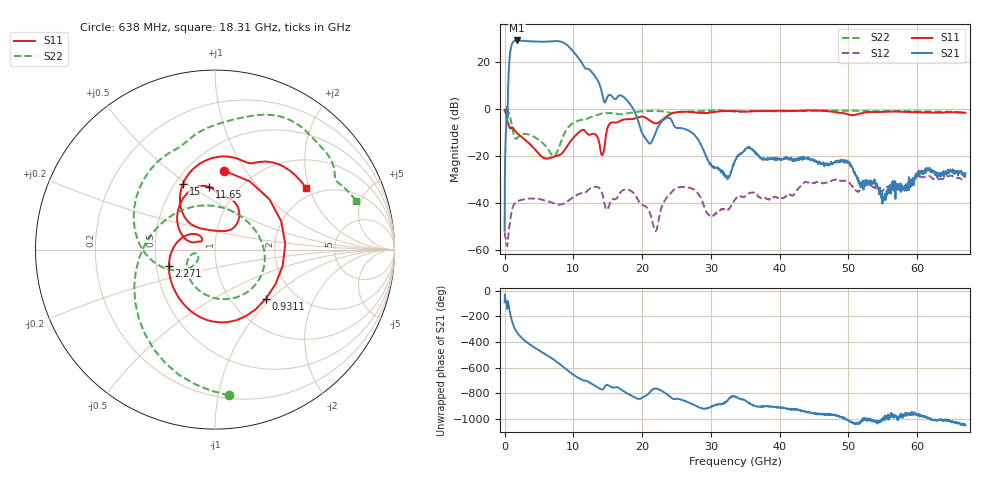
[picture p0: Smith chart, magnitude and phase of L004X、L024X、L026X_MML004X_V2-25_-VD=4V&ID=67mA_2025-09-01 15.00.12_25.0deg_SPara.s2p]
!Keysight Technologies,N5247B,MY63057157,A.17.10.07
!Date: Monday, September 01, 2025 15:07:10
!Correction: S11(C  2-Port  )
!S21(C  2-Port  )
!S12(C  2-Port  )
!S22(C  2-Port  )
!S2P File: Measurements: S11, S21, S12, S22:
# Hz S  dB  R 50
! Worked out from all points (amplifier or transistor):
!   1601 points, 10 MHz to 67 GHz, reference 50 ohm
!   highest |S21| = 29.2 dB at 1.81 GHz (marker M1)
!   |S21| within 3 dB of that: 942.7 MHz to 9.471 GHz (8.528 GHz wide, 164 % of centre)
!   unconditionally stable (mu >= 1): start of sweep to end of sweep
!   at 11.15 GHz: K = 1.94, MAG = 22.4 dB, |S12| = -35.7 dB
!   at 33.51 GHz: K = 20.68, MAG = -8.0 dB, |S12| = -38.5 dB
!   at 67 GHz: K = 28.23, MAG = -15.8 dB, |S12| = -30.6 dB
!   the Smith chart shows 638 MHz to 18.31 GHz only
!   S11 on the Smith chart (normalised r, x): 638 MHz: 0.73, +0.80; 931.1 MHz: 1.44, -0.93; 2.271 GHz: 0.58, -0.11; 11.65 GHz: 0.74, +0.59; 15 GHz: 0.55, +0.48; 18.31 GHz: 1.74, +1.91
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1e7  -0.49 -26.5  -51.74 -89.6  -52.49 44.7  -0.11 -12.0
6.380312e8  -7.08 83.6  17.82 -123.7  -51.00 -121.7  -1.76 -84.5
9.311125e8  -8.09 -43.8  26.07 153.7  -45.19 165.1  -4.87 -138.2
1.3498e9  -8.57 -109.0  28.91 80.7  -40.69 111.4  -10.94 128.4
1.810356e9  -10.15 -139.3  29.23 34.6  -39.26 78.0  -12.42 39.5
2.270912e9  -11.31 -160.9  29.16 3.9  -38.77 57.9  -11.08 -7.0
3.275762e9  -13.76 164.8  28.96 -43.6  -38.12 31.4  -10.62 -60.4
4.406219e9  -17.10 141.5  28.77 -85.6  -38.08 11.8  -11.99 -105.7
5.662281e9  -20.74 141.2  28.70 -127.3  -38.72 -4.8  -14.77 -149.9
7.04395e9  -20.39 152.0  28.91 -174.2  -39.93 -13.7  -19.89 -164.3
7.881325e9  -19.62 154.8  28.91 152.9  -40.64 -11.4  -16.42 -143.7
8.844306e9  -16.96 162.5  27.83 110.6  -39.84 -4.1  -9.55 -165.8
9.932894e9  -12.42 148.6  24.73 66.2  -37.57 -7.2  -6.01 154.4
1.118896e10  -9.04 114.6  19.95 26.0  -35.76 -22.8  -4.56 118.8
1.164951e10  -9.11 95.1  17.68 17.1  -35.60 -26.1  -4.39 109.6
1.499901e10  -7.79 115.9  5.42 -17.0  -42.64 -66.9  -1.62 51.2
1.830664e10  -4.26 34.0  1.95 -95.9  -34.68 -108.0  -1.58 18.9
2.236791e10  -5.75 0.7  -7.33 -49.2  -47.84 15.0  -0.83 -18.4
3.3505e10  -0.82 -80.0  -22.16 -107.6  -38.51 -118.2  -1.11 -74.3
4.468396e10  -0.56 -124.6  -21.43 123.1  -31.55 171.7  -0.68 -109.0
5.586291e10  -1.08 -152.4  -35.88 73.6  -32.86 125.2  -0.83 -141.8
6.7e10  -1.50 179.5  -27.15 30.0  -30.58 52.5  -1.27 -175.1
